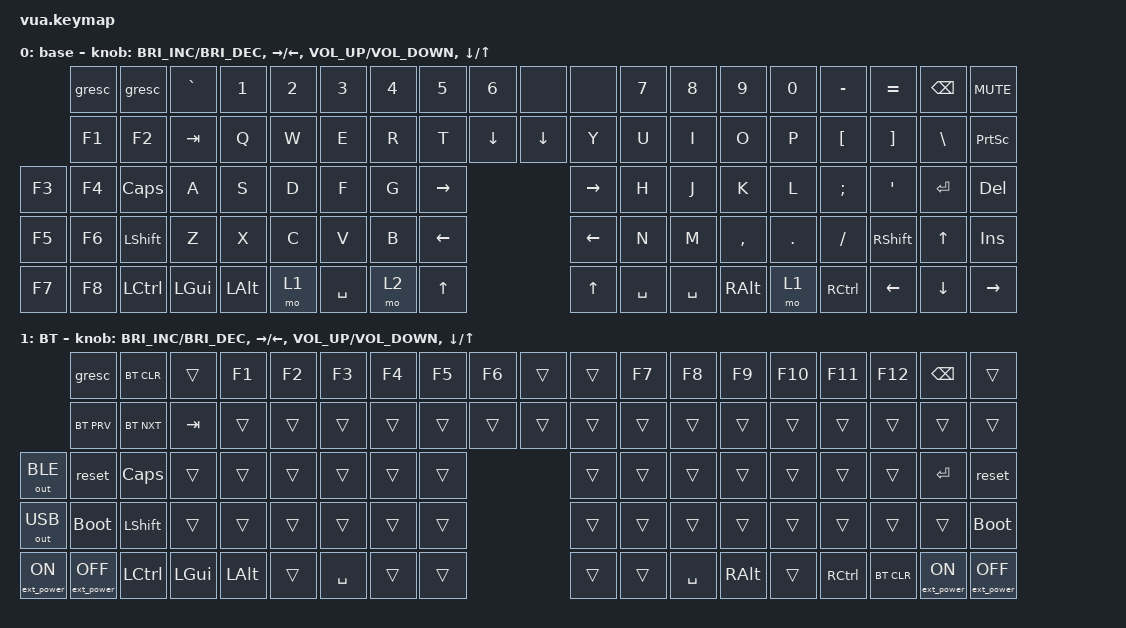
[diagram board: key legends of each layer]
/*
*
* Copyright (c) 2023 Deemen17
* SPDX-License-Identifier: MIT
*
*/

#include <behaviors.dtsi>
#include <dt-bindings/zmk/keys.h>
#include <dt-bindings/zmk/bt.h>
#include <dt-bindings/zmk/ext_power.h>
#include <dt-bindings/zmk/outputs.h>

/ {
    keymap {
        compatible = "zmk,keymap";

        default_layer {
            label = "base";

            // ---------------   -------------------------------------------   ---------  ---------    -----------------------------------------------------------
            // |  ESC |  F1  |   |  `  |  1  |  2  |  3  |  4  |  5  |  6__|   | LNAVC |  | RNAVC |  __|  7  |  8  |  9  |  0  |  -  |  =  |   BCKSPC   | Print  |
            // |  F2  |  F3  |   | TAB    |  Q  |  W  |  E  |  R  |  T  |_     | LNAVD |  | RNAVD |  |_ Z  |  U  |  I  |  O  |  P  |  [  |  ]  |   \    | Del    |
            // |  F4  |  F5  |   | CAPS    |  A  |  S  |  D  |  F  |  G  |___  | LNAVR |  | RNAVR |   |__H  |  J  |  K  |  L  |  ;  |  '  |    ENTER    | Ins    |
            // |  F6  |  F7  |   | SHIFT      |  Z  |  X  |  C  |  V  |  B  |  | LNAVL |  | RNAVL |      |  N  |  M  |  ,  |  .  |  /  |   SHIFT  |  Up | Home   |
            // |  F8  |  F9  |   | CTL  | WIN |  ALT  |MO(1)|  SPACE  |MO(2)|  | LNAVU |  | RNAVU |      |MO(3)|  SPACE   | ALT |MO(1)| CTL | Left| Down| Right  |
            // ---------------   --------------------------------------------  ---------  ---------      ---------------------------------------------------------

            bindings = <
&gresc  &gresc  &kp GRAVE    &kp N1    &kp N2  &kp N3     &kp N4  &kp N5  &kp N6      &none      &none                                    &kp N7     &kp N8     &kp N9    &kp N0  &kp MINUS  &kp EQUAL    &kp BSPC  &kp C_MUTE
&kp F1  &kp F2    &kp TAB     &kp Q     &kp W   &kp E      &kp R   &kp T           &kp DOWN   &kp DOWN      &kp Y      &kp U      &kp I    &kp O      &kp P   &kp LBKT  &kp RBKT   &kp BSLH  &kp PSCRN
&kp F3  &kp F4   &kp CLCK     &kp A     &kp S   &kp D      &kp F   &kp G          &kp RIGHT  &kp RIGHT      &kp H      &kp J      &kp K    &kp L   &kp SEMI    &kp SQT              &kp RET    &kp DEL
&kp F5  &kp F6  &kp LSHFT     &kp Z     &kp X   &kp C      &kp V   &kp B           &kp LEFT   &kp LEFT      &kp N      &kp M  &kp COMMA  &kp DOT   &kp FSLH  &kp RSHFT               &kp UP    &kp INS
&kp F7  &kp F8  &kp LCTRL  &kp LGUI  &kp LALT   &mo 1  &kp SPACE   &mo 2             &kp UP     &kp UP  &kp SPACE  &kp SPACE   &kp RALT    &mo 1  &kp RCTRL   &kp LEFT             &kp DOWN  &kp RIGHT
            >;

            sensor-bindings = <&inc_dec_kp C_BRIGHTNESS_INC C_BRIGHTNESS_DEC &inc_dec_kp RIGHT LEFT &inc_dec_kp C_VOLUME_UP C_VOLUME_DOWN &inc_dec_kp DOWN UP>;
        };

        lower_layer {
            label = "BT";

            // -----------------   -------------------------------------------   ---------  ---------    ---------------------------------------------------------
            // |  ESC  | BTCLR |   |     |     |     |     |     |     |   __|   |       |  |       |  __|     |     |     |     |     |     |   BCKSPC   |      |
            // |  <BT  | BT>   |   | TAB    |     |     |     |     |     |_     |       |  |       |  |_    |     |     |     |     |  [     ]  |        |      |
            // |  BLE  | RESET |   | CAPS    |     |     |     |     |     |___  |       |  |       |   |__   |     |     |     |     |     |    ENTER    |      |
            // |  USB  | BOOT  |   | SHIFT      |     |     |     |     |     |  |       |  |       |      |     |     |     |     |     |   SHIFT  |     |      |
            // | EP_ON | EP_OFF|   | CTL  | WIN |  ALT  |     |  SPACE  |     |  |       |  |       |      |     |  SPACE   | ALT |     | CTL |BTCLR|EP_ON|EP_OFF|
            // -----------------   --------------------------------------------  ---------  ---------      -------------------------------------------------------	

            bindings = <
          &gresc         &bt BT_CLR     &trans    &kp F1    &kp F2  &kp F3     &kp F4  &kp F5  &kp F6  &trans  &trans                               &kp F7     &kp F8      &kp F9  &kp F10           &kp F11            &kp F12    &kp BSPC  &trans
    &bt BT_PRV           &bt BT_NXT    &kp TAB    &trans    &trans  &trans     &trans  &trans          &trans  &trans  &trans     &trans    &trans  &trans     &trans      &trans   &trans            &trans             &trans
    &out OUT_BLE             &reset   &kp CLCK    &trans    &trans  &trans     &trans  &trans          &trans  &trans  &trans     &trans    &trans  &trans     &trans      &trans                    &kp RET             &reset
    &out OUT_USB        &bootloader  &kp LSHFT    &trans    &trans  &trans     &trans  &trans          &trans  &trans  &trans     &trans    &trans  &trans     &trans      &trans                     &trans        &bootloader
&ext_power EP_ON  &ext_power EP_OFF  &kp LCTRL  &kp LGUI  &kp LALT  &trans  &kp SPACE  &trans          &trans  &trans  &trans  &kp SPACE  &kp RALT  &trans  &kp RCTRL  &bt BT_CLR           &ext_power EP_ON  &ext_power EP_OFF
            >;

            sensor-bindings = <&inc_dec_kp C_BRIGHTNESS_INC C_BRIGHTNESS_DEC &inc_dec_kp RIGHT LEFT &inc_dec_kp C_VOLUME_UP C_VOLUME_DOWN &inc_dec_kp DOWN UP>;
        };
    };
};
